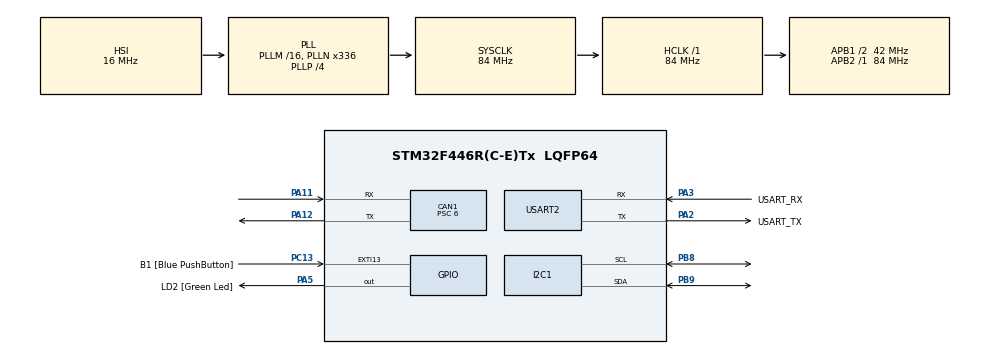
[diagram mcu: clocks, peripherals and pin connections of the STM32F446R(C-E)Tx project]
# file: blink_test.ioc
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CAN1.ABOM=DISABLE
CAN1.BS1=CAN_BS1_11TQ
CAN1.BS2=CAN_BS2_2TQ
CAN1.CalculateBaudRate=500000
CAN1.CalculateTimeBit=2000
CAN1.CalculateTimeQuantum=142.85714285714286
CAN1.Mode=CAN_MODE_LOOPBACK
CAN1.NART=DISABLE
CAN1.Prescaler=6
Mcu.Family=STM32F4
Mcu.Name=STM32F446R(C-E)Tx
Mcu.Package=LQFP64
NVIC.CAN1_RX0_IRQn=true\:0\:0\:false\:false\:true\:true\:true\:true
NVIC.PriorityGroup=NVIC_PRIORITYGROUP_0
PA11.Mode=CAN_Activate
PA11.Signal=CAN1_RX
PA12.Mode=CAN_Activate
PA12.Signal=CAN1_TX
PA13.GPIO_Label=TMS
PA13.Mode=Serial_Wire
PA13.Signal=SYS_JTMS-SWDIO
PA14.GPIO_Label=TCK
PA14.Mode=Serial_Wire
PA14.Signal=SYS_JTCK-SWCLK
PA2.GPIO_Label=USART_TX
PA2.Mode=Asynchronous
PA2.Signal=USART2_TX
PA3.GPIO_Label=USART_RX
PA3.Mode=Asynchronous
PA3.Signal=USART2_RX
PA5.GPIO_Label=LD2 [Green Led]
PA5.Signal=GPIO_Output
PB3.GPIO_Label=SWO
PB3.Signal=SYS_JTDO-SWO
PB8.Mode=I2C
PB8.Signal=I2C1_SCL
PB9.Mode=I2C
PB9.Signal=I2C1_SDA
PC13.GPIO_Label=B1 [Blue PushButton]
PC13.GPIO_ModeDefaultEXTI=GPIO_MODE_IT_FALLING
PC13.Signal=GPXTI13
PC14-OSC32_IN.Mode=LSE-External-Oscillator
PC14-OSC32_IN.Signal=RCC_OSC32_IN
PC15-OSC32_OUT.Mode=LSE-External-Oscillator
PC15-OSC32_OUT.Signal=RCC_OSC32_OUT
PH0-OSC_IN.Mode=HSE-External-Oscillator
PH0-OSC_IN.Signal=RCC_OSC_IN
PH1-OSC_OUT.Mode=HSE-External-Oscillator
PH1-OSC_OUT.Signal=RCC_OSC_OUT
ProjectManager.HeapSize=0x200
ProjectManager.StackSize=0x400
ProjectManager.TargetToolchain=STM32CubeIDE
RCC.48MHZClocksFreq_Value=84000000
RCC.AHBFreq_Value=84000000
RCC.APB1CLKDivider=RCC_HCLK_DIV2
RCC.APB1Freq_Value=42000000
RCC.APB1TimFreq_Value=84000000
RCC.APB2Freq_Value=84000000
RCC.APB2TimFreq_Value=84000000
RCC.CortexFreq_Value=84000000
RCC.FLatency-AdvancedSettings=FLASH_LATENCY_2
RCC.HCLKFreq_Value=84000000
RCC.HSE_VALUE=8000000
RCC.HSI_VALUE=16000000
RCC.PLLN=336
RCC.PLLP=RCC_PLLP_DIV4
RCC.SYSCLKFreq_VALUE=84000000
RCC.SYSCLKSource=RCC_SYSCLKSOURCE_PLLCLK
RCC.USBFreq_Value=168000000
RCC.VCOOutputFreq_Value=336000000
USART2.VirtualMode=VM_ASYNC
board=NUCLEO-F446RE

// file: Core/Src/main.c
/* USER CODE BEGIN Header */
/**
  ******************************************************************************
  * @file           : main.c
  * @brief          : Main program body
  ******************************************************************************
  * @attention
  *
  * Copyright (c) 2026 STMicroelectronics.
  * All rights reserved.
  *
  * This software is licensed under terms that can be found in the LICENSE file
  * in the root directory of this software component.
  * If no LICENSE file comes with this software, it is provided AS-IS.
  *
  ******************************************************************************
  */
/* USER CODE END Header */
#include "main.h"
#include "can.h"
#include "i2c.h"
#include "usart.h"
#include "gpio.h"

/* USER CODE BEGIN Includes */
#include <stdio.h>
#include <string.h>
#include "bme280.h"
#include "state_machine.h"
/* USER CODE END Includes */

/* USER CODE BEGIN PV */
static SystemState current_state = STATE_NORMAL;
static SystemState previous_state = STATE_NORMAL;

/* CAN handles */
CAN_TxHeaderTypeDef tx_header;
CAN_RxHeaderTypeDef rx_header;
uint8_t tx_data[8] = {0};
uint8_t rx_data[8] = {0};
uint32_t tx_mailbox;
volatile uint8_t can_rx_flag = 0;  /* set by ISR when frame arrives */
volatile uint8_t can_rx_count = 0;
/* USER CODE END PV */

void SystemClock_Config(void);
/* USER CODE BEGIN PFP */
int _write(int file, char *ptr, int len);
void CAN_TestInit(void);
HAL_StatusTypeDef CAN_SendTestFrame(uint8_t counter);
/* USER CODE END PFP */

int main(void)
{

  /* MCU Configuration--------------------------------------------------------*/

  /* Reset of all peripherals, Initializes the Flash interface and the Systick. */
  HAL_Init();

  /* Configure the system clock */
  SystemClock_Config();

  /* Initialize all configured peripherals */
  MX_GPIO_Init();
  MX_USART2_UART_Init();
  MX_I2C1_Init();
  MX_CAN1_Init();
  /* USER CODE BEGIN 2 */
  printf("\r\n=== blink_test booted ===\r\n");
    printf("Build: %s %s\r\n", __DATE__, __TIME__);

    if (BME280_Init() == HAL_OK) {
        printf("BME280 calibrated and configured.\r\n\r\n");
    } else {
        printf("BME280 init FAILED.\r\n\r\n");
        while (1) { /* halt */ }
    }

    /* CAN test initialization */
      CAN_TestInit();
      printf("CAN initialized in loopback mode.\r\n\r\n");
      uint8_t tx_counter = 1;
  /* USER CODE END 2 */

  /* Infinite loop */
  while (1)
  {

    /* USER CODE BEGIN 3 */
	      /* --- Sensor read + state machine (unchanged from Day 6) --- */
	      float temp_c, hum_pct, press_hpa;
	      if (BME280_Read(&temp_c, &hum_pct, &press_hpa) == HAL_OK) {
	          current_state = classify_state(temp_c, current_state);
	          if (current_state != previous_state) {
	              printf("[uptime: %lu ms] T = %.2f °C  [%s]  *** STATE CHANGE: %s -> %s ***\r\n",
	                     HAL_GetTick(), temp_c,
	                     state_name(current_state),
	                     state_name(previous_state), state_name(current_state));
	              previous_state = current_state;
	          }
	      }

	      /* --- CAN test: send frame, wait briefly, check if it came back --- */
	      HAL_StatusTypeDef tx_status = CAN_SendTestFrame(tx_counter);

	      if (tx_status == HAL_OK) {
	          printf("TX: ID=0x%03lX  DLC=%lu  data=[%02X %02X %02X %02X]\r\n",
	                 tx_header.StdId, tx_header.DLC,
	                 tx_data[0], tx_data[1], tx_data[2], tx_data[3]);
	      } else {
	          printf("TX failed (HAL status: %d, CAN error: 0x%08lX, state: %d)\r\n",
	                 tx_status,
	                 HAL_CAN_GetError(&hcan1),
	                 HAL_CAN_GetState(&hcan1));
	      }

	      HAL_Delay(50);  /* give the ISR time to fire */

	      if (can_rx_flag) {
	          can_rx_flag = 0;
	          int match = (rx_data[0] == tx_data[0] &&
	                       rx_data[1] == tx_data[1] &&
	                       rx_data[2] == tx_data[2] &&
	                       rx_data[3] == tx_data[3]);
	          printf("RX: ID=0x%03lX  DLC=%lu  data=[%02X %02X %02X %02X]   %s\r\n",
	                 rx_header.StdId, rx_header.DLC,
	                 rx_data[0], rx_data[1], rx_data[2], rx_data[3],
	                 match ? "OK match" : "MISMATCH!");
	      } else {
	          printf("RX: (no frame received)\r\n");
	      }

	      tx_counter++;
	      HAL_GPIO_TogglePin(LD2_GPIO_Port, LD2_Pin);
	      HAL_Delay(blink_interval_ms(current_state));
  }
  /* USER CODE END 3 */
}

void SystemClock_Config(void)
{
  RCC_OscInitTypeDef RCC_OscInitStruct = {0};
  RCC_ClkInitTypeDef RCC_ClkInitStruct = {0};

  /** Configure the main internal regulator output voltage
  */
  __HAL_RCC_PWR_CLK_ENABLE();
  __HAL_PWR_VOLTAGESCALING_CONFIG(PWR_REGULATOR_VOLTAGE_SCALE3);

  /** Initializes the RCC Oscillators according to the specified parameters
  * in the RCC_OscInitTypeDef structure.
  */
  RCC_OscInitStruct.OscillatorType = RCC_OSCILLATORTYPE_HSI;
  RCC_OscInitStruct.HSIState = RCC_HSI_ON;
  RCC_OscInitStruct.HSICalibrationValue = RCC_HSICALIBRATION_DEFAULT;
  RCC_OscInitStruct.PLL.PLLState = RCC_PLL_ON;
  RCC_OscInitStruct.PLL.PLLSource = RCC_PLLSOURCE_HSI;
  RCC_OscInitStruct.PLL.PLLM = 16;
  RCC_OscInitStruct.PLL.PLLN = 336;
  RCC_OscInitStruct.PLL.PLLP = RCC_PLLP_DIV4;
  RCC_OscInitStruct.PLL.PLLQ = 2;
  RCC_OscInitStruct.PLL.PLLR = 2;
  if (HAL_RCC_OscConfig(&RCC_OscInitStruct) != HAL_OK)
  {
    Error_Handler();
  }

  /** Initializes the CPU, AHB and APB buses clocks
  */
  RCC_ClkInitStruct.ClockType = RCC_CLOCKTYPE_HCLK|RCC_CLOCKTYPE_SYSCLK
                              |RCC_CLOCKTYPE_PCLK1|RCC_CLOCKTYPE_PCLK2;
  RCC_ClkInitStruct.SYSCLKSource = RCC_SYSCLKSOURCE_PLLCLK;
  RCC_ClkInitStruct.AHBCLKDivider = RCC_SYSCLK_DIV1;
  RCC_ClkInitStruct.APB1CLKDivider = RCC_HCLK_DIV2;
  RCC_ClkInitStruct.APB2CLKDivider = RCC_HCLK_DIV1;

  if (HAL_RCC_ClockConfig(&RCC_ClkInitStruct, FLASH_LATENCY_2) != HAL_OK)
  {
    Error_Handler();
  }
}

/* USER CODE BEGIN 4 */
int _write(int file, char *ptr, int len)
{
    HAL_UART_Transmit(&huart2, (uint8_t *)ptr, len, HAL_MAX_DELAY);
    return len;
}

/* ----------------------------------------------------------
 * CAN initialization + diagnostics
 * ---------------------------------------------------------- */
void CAN_TestInit(void)
{
    HAL_StatusTypeDef f_status;
    HAL_StatusTypeDef s_status;
    HAL_StatusTypeDef n_status;

    /* Configure RX filter — accept all standard IDs */
    CAN_FilterTypeDef filter;

    filter.FilterBank = 0;
    filter.FilterMode = CAN_FILTERMODE_IDMASK;
    filter.FilterScale = CAN_FILTERSCALE_32BIT;

    filter.FilterIdHigh = 0x0000;
    filter.FilterIdLow  = 0x0000;

    filter.FilterMaskIdHigh = 0x0000;
    filter.FilterMaskIdLow  = 0x0000;

    filter.FilterFIFOAssignment = CAN_RX_FIFO0;
    filter.FilterActivation = ENABLE;
    filter.SlaveStartFilterBank = 14;

    f_status = HAL_CAN_ConfigFilter(&hcan1, &filter);

    printf("HAL_CAN_ConfigFilter = %d\r\n", f_status);

    /* Start CAN peripheral */
    s_status = HAL_CAN_Start(&hcan1);

    printf("HAL_CAN_Start = %d\r\n", s_status);
    printf("CAN error = 0x%08lX\r\n", HAL_CAN_GetError(&hcan1));

    printf("MCR = 0x%08lX\r\n", hcan1.Instance->MCR);
    printf("MSR = 0x%08lX\r\n", hcan1.Instance->MSR);

    /* Enable RX FIFO0 interrupt */
    n_status = HAL_CAN_ActivateNotification(
                    &hcan1,
                    CAN_IT_RX_FIFO0_MSG_PENDING);

    printf("HAL_CAN_ActivateNotification = %d\r\n",
           n_status);

    /* Configure TX header */
    tx_header.StdId = 0x123;
    tx_header.ExtId = 0;
    tx_header.IDE = CAN_ID_STD;
    tx_header.RTR = CAN_RTR_DATA;
    tx_header.DLC = 4;
    tx_header.TransmitGlobalTime = DISABLE;
}

/* ----------------------------------------------------------
 * Send one CAN frame
 * ---------------------------------------------------------- */
HAL_StatusTypeDef CAN_SendTestFrame(uint8_t counter)
{
    tx_data[0] = counter;
    tx_data[1] = counter + 1;
    tx_data[2] = counter + 2;
    tx_data[3] = counter + 3;

    return HAL_CAN_AddTxMessage(
                &hcan1,
                &tx_header,
                tx_data,
                &tx_mailbox);
}

/* ----------------------------------------------------------
 * RX interrupt callback
 * ---------------------------------------------------------- */
void HAL_CAN_RxFifo0MsgPendingCallback(CAN_HandleTypeDef *hcan)
{
    printf(">>> IRQ CALLBACK FIRED <<<\r\n");

    if (HAL_CAN_GetRxMessage(
            hcan,
            CAN_RX_FIFO0,
            &rx_header,
            rx_data) == HAL_OK)
    {
        can_rx_flag = 1;
        can_rx_count++;
    }
}

/* USER CODE END 4 */

void Error_Handler(void)
{
  __disable_irq();
  while (1)
  {
  }
}
